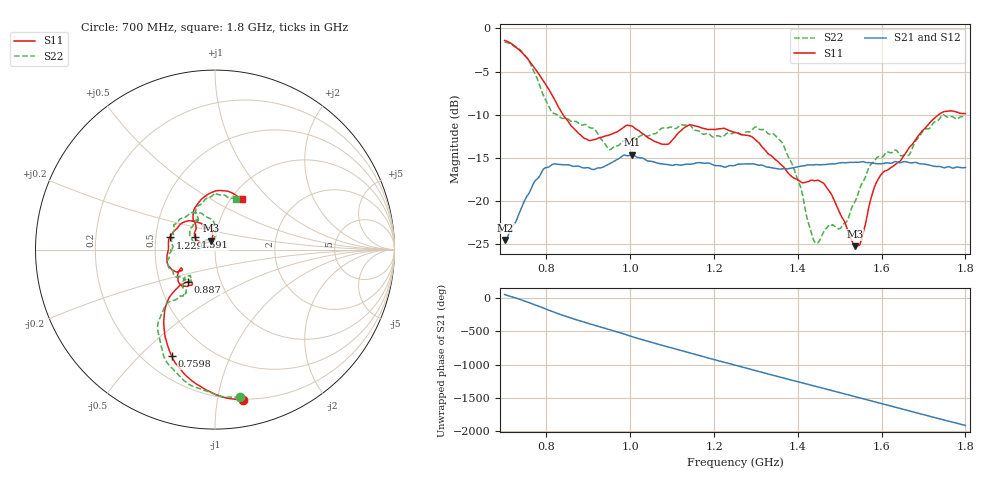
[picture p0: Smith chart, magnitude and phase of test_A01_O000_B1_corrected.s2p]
! Created with skrf 1.9.0 (http://scikit-rf.org).
# Hz S RI R 50.0
!freq ReS11 ImS11 ReS21 ImS21 ReS12 ImS12 ReS22 ImS22
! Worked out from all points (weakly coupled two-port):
!   1601 points, 700 MHz to 1.8 GHz, reference 50 ohm
!   highest |S21| = -14.63 dB at 1.005 GHz (marker M1); lowest = -24.5 dB at 701.4 MHz (marker M2)
!   lowest |S11| = -25.2 dB at 1.537 GHz (marker M3), VSWR 1.12, Z = 47.6 + j4.79 ohm
!   |S11| at or under -10 dB: 839.3 MHz to 1.736 GHz (896.7 MHz wide, 69.6 % of centre)
!   |S22| runs from -24.9 to -1.6 dB; largest |S21 - S12| = 0.0038
!   S11 on the Smith chart (normalised r, x): 700 MHz: 0.20, -1.19; 759.8 MHz: 0.31, -0.63; 887 MHz: 0.70, -0.26; 1.229 GHz: 0.59, +0.09; 1.591 GHz: 0.79, +0.11; 1.8 GHz: 1.12, +0.71
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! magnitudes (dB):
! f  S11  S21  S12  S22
! 700 MHz  -1.4  -24.5  -24.3  -1.6
! 701.4 MHz  -1.4  -24.5  -24.1  -1.6
! 759.8 MHz  -3.9  -19.0  -18.8  -3.9
! 812.8 MHz  -7.7  -15.8  -15.8  -9.7
! 883.6 MHz  -12.4  -16.1  -16.0  -11.2
! 887 MHz  -12.6  -16.2  -16.0  -11.2
! 950.2 MHz  -12.3  -15.7  -15.7  -14.0
! 1.005 GHz  -11.3  -14.6  -14.8  -12.8
! 1.067 GHz  -13.3  -15.6  -15.6  -11.9
! 1.229 GHz  -11.7  -16.1  -16.0  -12.2
! 1.25 GHz  -12.1  -15.9  -15.8  -12.0
! 1.361 GHz  -15.8  -16.3  -16.3  -13.1
! 1.405 GHz  -17.7  -16.0  -16.0  -18.1
! 1.434 GHz  -17.6  -15.8  -15.8  -24.0
! 1.476 GHz  -18.9  -15.7  -15.7  -22.8
! 1.503 GHz  -21.7  -15.6  -15.6  -23.1
! 1.537 GHz  -25.2  -15.5  -15.5  -20.0
! 1.591 GHz  -17.5  -15.7  -15.7  -14.9
! 1.617 GHz  -16.3  -15.6  -15.6  -14.4
! 1.664 GHz  -14.0  -15.5  -15.5  -14.7
! 1.737 GHz  -10.0  -16.0  -16.1  -10.6
! 1.8 GHz  -9.9  -16.1  -16.1  -10.3
